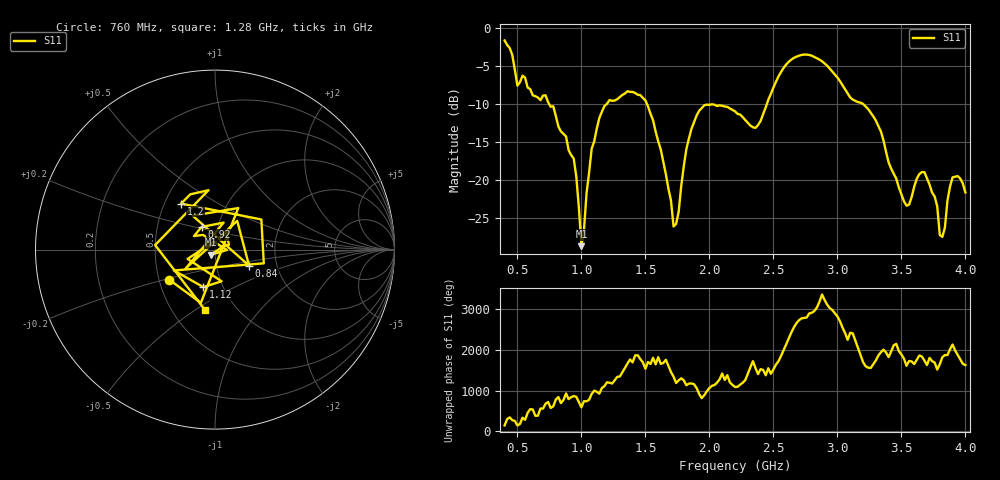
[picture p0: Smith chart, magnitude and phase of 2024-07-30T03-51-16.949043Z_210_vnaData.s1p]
!Created with skrf (http://scikit-rf.org).
# Hz S RI R 50.0
!freq ReS11 ImS11
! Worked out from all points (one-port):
!   181 points, 400 MHz to 4 GHz, reference 50 ohm
!   lowest |S11| = -28.6 dB at 1 GHz (marker M1), VSWR 1.08, Z = 47.7 - j2.76 ohm
!   |S11| at or under -10 dB: 749 MHz to 1.196 GHz (446.9 MHz wide, 46 % of centre); 1.513 GHz to 2.02 GHz (506.5 MHz wide, 28.7 % of centre); 3.203 GHz to end of sweep (the widest 3 of 4)
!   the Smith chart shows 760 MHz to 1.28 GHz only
!   S11 on the Smith chart (normalised r, x): 760 MHz: 0.57, -0.21; 840 MHz: 1.44, -0.27; 920 MHz: 0.84, +0.22; 1.12 GHz: 0.81, -0.35; 1.2 GHz: 0.61, +0.35; 1.28 GHz: 0.72, -0.55
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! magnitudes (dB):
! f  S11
! 400 MHz  -1.6
! 500 MHz  -7.5
! 760 MHz  -10.3
! 840 MHz  -13.6
! 860 MHz  -13.9
! 920 MHz  -16.7
! 960 MHz  -19.5
! 1 GHz  -28.6
! 1.12 GHz  -13.2
! 1.2 GHz  -9.9
! 1.28 GHz  -9.3
! 1.3 GHz  -9.1
! 1.5 GHz  -9.5
! 1.62 GHz  -15.9
! 1.72 GHz  -26.1
! 1.76 GHz  -24.1
! 1.82 GHz  -15.9
! 1.92 GHz  -10.9
! 2.2 GHz  -10.9
! 2.36 GHz  -13.1
! 2.66 GHz  -3.9
! 3.1 GHz  -9.1
! 3.3 GHz  -12.1
! 3.56 GHz  -23.2
! 3.68 GHz  -18.9
! 3.82 GHz  -27.4
! 3.9 GHz  -19.6
! 4 GHz  -21.6
